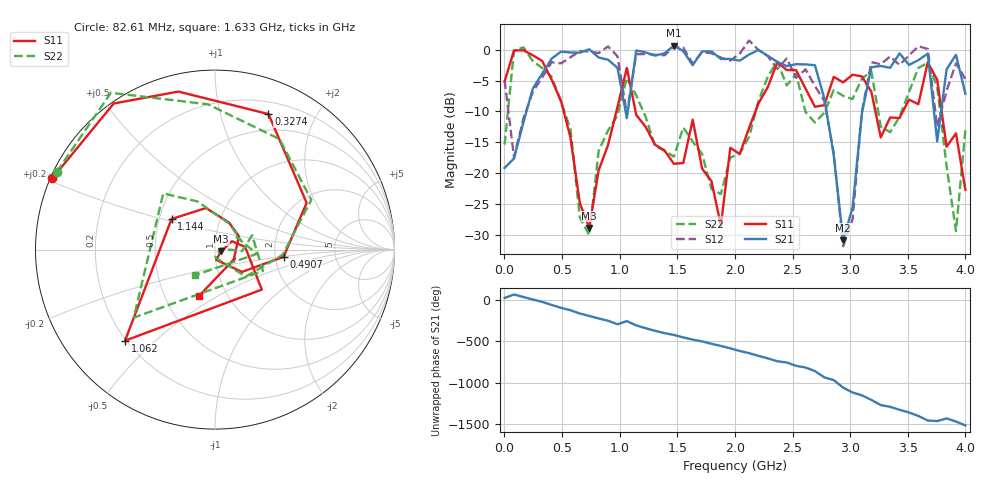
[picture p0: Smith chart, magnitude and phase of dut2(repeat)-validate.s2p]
!Created with skrf (http://scikit-rf.org).
# GHz S DB R 50.0
!freq dBS11 angS11 dBS21 angS21 dBS12 angS12 dBS22 angS22
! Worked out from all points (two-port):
!   50 points, 1 MHz to 4 GHz, reference 50 ohm
!   highest |S21| = 0.68 dB at 1.47 GHz (marker M1); lowest = -30.9 dB at 2.939 GHz (marker M2)
!   |S21| within 3 dB of the highest: 379.3 MHz to 943.6 MHz (564.3 MHz wide, 85.3 % of centre); 1.639 GHz to 2.411 GHz (772.2 MHz wide, 38.1 % of centre)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
!   lowest |S11| = -28.9 dB at 735.5 MHz (marker M3), VSWR 1.07, Z = 53.5 - j1.08 ohm
!   |S11| at or under -10 dB: 514 MHz to 971 MHz (456.9 MHz wide, 61.5 % of centre); 1.137 GHz to 2.178 GHz (1.04 GHz wide, 62.7 % of centre); 3.219 GHz to 3.458 GHz (238.9 MHz wide, 7.16 % of centre)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
!   |S22| runs from -30.1 to 0.4 dB; largest |S21 - S12| = 0.57
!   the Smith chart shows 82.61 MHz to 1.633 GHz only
!   S11 on the Smith chart (normalised r, x): 82.61 MHz: 0.01, +0.21; 327.4 MHz: 0.32, +1.42; 490.7 MHz: 2.22, -0.21; 1.062 GHz: 0.20, -0.40; 1.144 GHz: 0.58, +0.22; 1.633 GHz: 0.74, -0.41
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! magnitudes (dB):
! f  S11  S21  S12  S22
! 1 MHz  -5.1  -19.2  -4.9  -15.4
! 82.61 MHz  -0.1  -17.6  -17.4  -0.2
! 327.4 MHz  -1.8  -3.9  -4.5  -2.9
! 490.7 MHz  -8.3  -0.3  -2.2  -8.4
! 735.5 MHz  -28.9  0.1  -0.3  -30.1
! 817.1 MHz  -19.6  -1.2  -0.5  -16.4
! 1.062 GHz  -2.9  -11.1  -10.4  -4.6
! 1.144 GHz  -10.6  -0.1  -0.7  -7.4
! 1.388 GHz  -16.3  -0.6  -0.9  -16.4
! 1.47 GHz  -18.5  0.7  0.6  -17.3
! 1.633 GHz  -11.3  -2.5  -2.2  -14.9
! 1.878 GHz  -28.5  -1.5  -1.3  -23.4
! 2.041 GHz  -16.9  -1.8  -0.6  -16.8
! 2.368 GHz  -2.0  -2.0  -3.1  -1.9
! 2.694 GHz  -9.2  -2.5  -5.9  -11.8
! 2.939 GHz  -5.3  -30.9  -31.9  -7.5
! 3.184 GHz  -6.8  -2.8  -2.0  -3.5
! 3.347 GHz  -11.0  -2.9  -1.1  -13.4
! 3.674 GHz  -2.0  -0.6  0.1  -2.1
! 3.755 GHz  -4.9  -14.9  -12.5  -6.0
! 3.918 GHz  -13.6  -0.8  -2.2  -29.4
! 4 GHz  -22.7  -7.1  -4.8  -13.0
